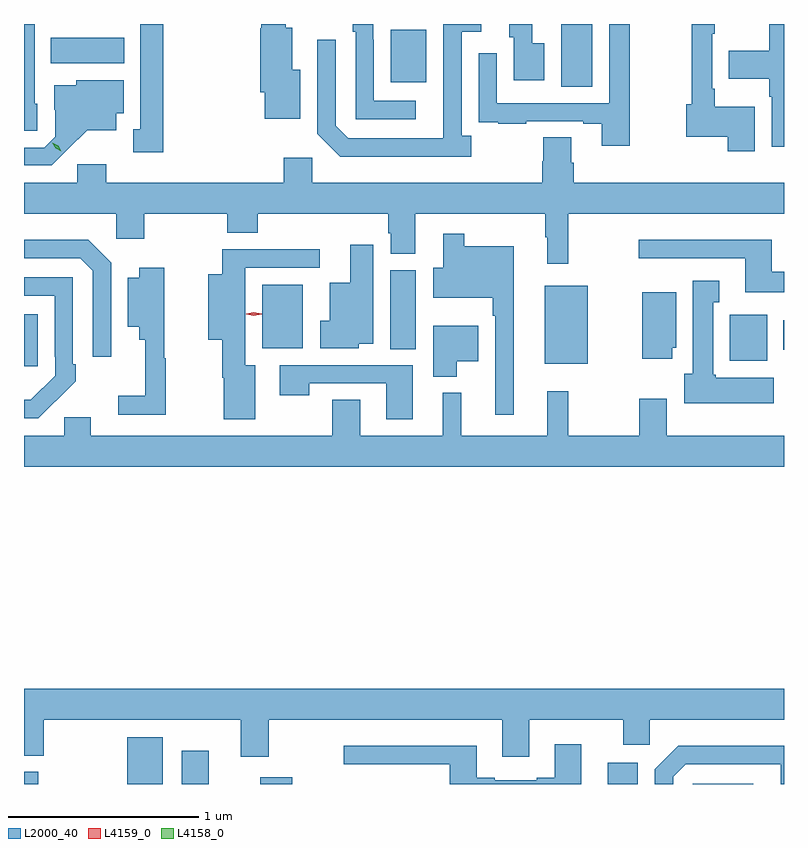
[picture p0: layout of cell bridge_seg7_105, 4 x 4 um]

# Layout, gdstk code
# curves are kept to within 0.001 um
import gdstk
lib = gdstk.Library(unit=1e-6, precision=1e-09)
def R(c, l, rs):  # rectangles x0, y0, x1, y1
    for r in rs: c.add(gdstk.rectangle(r[:2], r[2:], *l))
def P(c, l, *ps):  # polygons
    for p in ps: c.add(gdstk.Polygon(p, *l))
L2000_40 = (2000, 40)
L4158_0 = (4158, 0)
L4159_0 = (4159, 0)

bridge_seg7_105 = lib.new_cell('bridge_seg7_105')
R(bridge_seg7_105, L2000_40, [(1046.095,1017.595,1046.17,1017.66), (1046.639,1017.595,1046.824,1017.841), (1046.924,1017.595,1047.067,1017.769), (1047.338,1017.595,1047.508,1017.631), (1049.168,1017.595,1049.326,1017.706), (1049.616,1017.595,1049.932,1017.597), (1046.095,1019.793,1046.167,1020.067), (1048.835,1019.807,1049.062,1020.217), (1049.81,1019.822,1050.007,1020.064), (1050.092,1019.881,1050.095,1020.037), (1048.022,1019.884,1048.156,1020.3), (1047.35,1019.888,1047.562,1020.223), (1048.922,1021.264,1049.086,1021.595), (1048.025,1021.289,1048.213,1021.564), (1046.236,1021.388,1046.623,1021.522)])
P(bridge_seg7_105, L2000_40, [(1046.166,1021.176),(1046.151,1021.176),(1046.151,1021.595),(1046.095,1021.595),(1046.095,1021.033),(1046.166,1021.033)],
  [(1046.827,1021.595),(1046.708,1021.595),(1046.708,1021.041),(1046.669,1021.041),(1046.669,1020.921),(1046.827,1020.921)],
  [(1048.45,1021.006),(1048.398,1021.006),(1048.398,1021.554),(1048.501,1021.554),(1048.501,1021.595),(1048.302,1021.595),(1048.301,1020.993),(1047.801,1020.993),(1047.735,1021.059),(1047.735,1021.513),(1047.639,1021.513),(1047.639,1021.017),(1047.76,1020.896),(1048.45,1020.896)],
  [(1047.55,1021.354),(1047.508,1021.354),(1047.508,1021.576),(1047.472,1021.576),(1047.472,1021.595),(1047.343,1021.595),(1047.343,1021.572),(1047.338,1021.572),(1047.338,1021.236),(1047.362,1021.236),(1047.362,1021.097),(1047.55,1021.097)],
  [(1049.284,1021.595),(1049.175,1021.595),(1049.175,1021.179),(1048.584,1021.179),(1048.584,1021.441),(1048.488,1021.441),(1048.488,1021.186),(1048.489,1021.186),(1048.489,1021.077),(1048.591,1021.077),(1048.591,1021.071),(1048.739,1021.071),(1048.739,1021.083),(1049.039,1021.083),(1049.039,1021.071),(1049.135,1021.071),(1049.135,1020.954),(1049.284,1020.954)],
  [(1050.095,1021.595),(1050.018,1021.595),(1050.018,1021.455),(1049.803,1021.455),(1049.803,1021.307),(1050.018,1021.307),(1050.018,1021.211),(1050.03,1021.211),(1050.03,1020.948),(1050.095,1020.948)],
  [(1049.941,1021.159),(1049.731,1021.159),(1049.731,1021.255),(1049.718,1021.255),(1049.718,1021.543),(1049.731,1021.543),(1049.731,1021.595),(1049.61,1021.595),(1049.61,1021.172),(1049.581,1021.172),(1049.581,1021.001),(1049.798,1021.001),(1049.798,1020.924),(1049.941,1020.924)],
  [(1048.834,1021.495),(1048.771,1021.495),(1048.771,1021.595),(1048.649,1021.595),(1048.649,1021.524),(1048.673,1021.524),(1048.673,1021.299),(1048.834,1021.299)],
  [(1048.156,1021.191),(1047.936,1021.191),(1047.936,1021.511),(1047.933,1021.511),(1047.933,1021.595),(1047.825,1021.595),(1047.825,1021.553),(1047.84,1021.553),(1047.84,1021.095),(1048.156,1021.095)],
  [(1046.326,1020.935),(1046.429,1021.037),(1046.581,1021.037),(1046.581,1021.124),(1046.62,1021.124),(1046.62,1021.3),(1046.37,1021.3),(1046.37,1021.273),(1046.255,1021.273),(1046.255,1021.144),(1046.259,1021.144),(1046.259,1021.002),(1046.202,1020.945),(1046.095,1020.945),(1046.095,1020.852),(1046.242,1020.852)],
  [(1048.96,1020.596),(1050.095,1020.596),(1050.095,1020.76),(1048.988,1020.76),(1048.988,1020.866),(1048.975,1020.866),(1048.975,1020.998),(1048.828,1020.998),(1048.828,1020.873),(1048.823,1020.873),(1048.823,1020.76),(1047.612,1020.76),(1047.612,1020.892),(1047.461,1020.892),(1047.461,1020.76),(1046.528,1020.76),(1046.528,1020.856),(1046.376,1020.856),(1046.376,1020.76),(1046.095,1020.76),(1046.095,1020.596),(1046.58,1020.596),(1046.58,1020.465),(1046.727,1020.465),(1046.727,1020.596),(1047.166,1020.596),(1047.166,1020.497),(1047.326,1020.497),(1047.326,1020.596),(1048.013,1020.596),(1048.013,1020.495),(1048.025,1020.495),(1048.025,1020.385),(1048.153,1020.385),(1048.153,1020.596),(1048.839,1020.596),(1048.839,1020.473),(1048.85,1020.473),(1048.85,1020.333),(1048.96,1020.333)],
  [(1048.672,1020.424),(1048.411,1020.424),(1048.411,1020.49),(1048.301,1020.49),(1048.301,1020.313),(1048.248,1020.313),(1048.248,1020.155),(1048.563,1020.155),(1048.563,1020.059),(1048.575,1020.059),(1048.575,1019.538),(1048.672,1019.538)],
  [(1050.095,1020.292),(1050.031,1020.292),(1050.031,1020.46),(1049.331,1020.46),(1049.331,1020.363),(1049.891,1020.363),(1049.891,1020.182),(1050.095,1020.182)],
  [(1046.553,1020.339),(1046.432,1020.46),(1046.095,1020.46),(1046.095,1020.363),(1046.391,1020.363),(1046.457,1020.297),(1046.457,1019.844),(1046.553,1019.844)],
  [(1047.858,1019.912),(1047.934,1019.912),(1047.934,1020.433),(1047.812,1020.433),(1047.812,1020.232),(1047.704,1020.232),(1047.704,1020.034),(1047.653,1020.034),(1047.653,1019.888),(1047.858,1019.888)],
  [(1047.313,1019.8),(1047.259,1019.8),(1047.259,1020.312),(1047.652,1020.312),(1047.652,1020.41),(1047.139,1020.41),(1047.139,1020.277),(1047.065,1020.277),(1047.065,1019.933),(1047.139,1019.933),(1047.139,1019.732),(1047.146,1019.732),(1047.146,1019.514),(1047.313,1019.514)],
  [(1046.842,1019.837),(1046.832,1019.837),(1046.832,1020.313),(1046.702,1020.313),(1046.702,1020.259),(1046.642,1020.259),(1046.642,1020.002),(1046.702,1020.002),(1046.702,1019.933),(1046.732,1019.933),(1046.732,1019.639),(1046.592,1019.639),(1046.592,1019.538),(1046.842,1019.538)],
  [(1046.261,1019.611),(1046.262,1019.61),(1046.367,1019.715),(1046.367,1019.803),(1046.352,1019.803),(1046.352,1020.261),(1046.095,1020.261),(1046.095,1020.165),(1046.256,1020.165),(1046.256,1019.845),(1046.259,1019.845),(1046.259,1019.745),(1046.131,1019.617),(1046.095,1019.617),(1046.095,1019.52),(1046.17,1019.52)],
  [(1050.04,1019.734),(1049.736,1019.734),(1049.736,1019.748),(1049.722,1019.748),(1049.722,1020.131),(1049.755,1020.131),(1049.755,1020.244),(1049.615,1020.244),(1049.615,1019.754),(1049.57,1019.754),(1049.57,1019.6),(1050.04,1019.6)],
  [(1049.506,1019.892),(1049.527,1019.892),(1049.527,1020.184),(1049.348,1020.184),(1049.348,1019.832),(1049.506,1019.832)],
  [(1048.372,1019.819),(1048.486,1019.819),(1048.486,1020.007),(1048.25,1020.007),(1048.25,1019.738),(1048.372,1019.738)],
  [(1048.141,1019.799),(1047.441,1019.799),(1047.441,1019.64),(1047.597,1019.64),(1047.597,1019.703),(1048.001,1019.703),(1048.001,1019.514),(1048.141,1019.514)],
  [(1050.095,1019.428),(1049.479,1019.428),(1049.479,1019.623),(1049.332,1019.623),(1049.332,1019.428),(1048.96,1019.428),(1048.96,1019.662),(1048.85,1019.662),(1048.85,1019.428),(1048.397,1019.428),(1048.397,1019.653),(1048.298,1019.653),(1048.298,1019.428),(1047.865,1019.428),(1047.865,1019.618),(1047.718,1019.618),(1047.718,1019.428),(1046.446,1019.428),(1046.446,1019.526),(1046.307,1019.526),(1046.307,1019.428),(1046.095,1019.428),(1046.095,1019.264),(1050.095,1019.264)],
  [(1047.384,1017.932),(1048.613,1017.932),(1048.613,1017.738),(1048.753,1017.738),(1048.753,1017.932),(1049.249,1017.932),(1049.249,1017.801),(1049.388,1017.801),(1049.388,1017.932),(1050.095,1017.932),(1050.095,1018.096),(1046.095,1018.096),(1046.095,1017.745),(1046.199,1017.745),(1046.199,1017.932),(1047.236,1017.932),(1047.236,1017.738),(1047.384,1017.738)],
  [(1049.029,1017.805),(1048.889,1017.805),(1048.889,1017.628),(1048.793,1017.628),(1048.793,1017.615),(1048.573,1017.615),(1048.573,1017.628),(1048.477,1017.628),(1048.477,1017.796),(1047.777,1017.796),(1047.777,1017.699),(1048.337,1017.699),(1048.337,1017.595),(1049.029,1017.595)],
  [(1049.511,1017.633),(1049.577,1017.699),(1050.077,1017.699),(1050.077,1017.595),(1050.095,1017.595),(1050.095,1017.796),(1049.538,1017.796),(1049.415,1017.673),(1049.415,1017.595),(1049.511,1017.595)])
P(bridge_seg7_105, L4158_0, [(1046.292,1020.925),(1046.261,1020.941),(1046.243,1020.97),(1046.243,1020.971),(1046.244,1020.971),(1046.275,1020.955),(1046.292,1020.925),(1046.292,1020.925)])
P(bridge_seg7_105, L4159_0, [(1047.305,1020.059),(1047.265,1020.068),(1047.264,1020.069),(1047.265,1020.069),(1047.305,1020.079),(1047.345,1020.069),(1047.345,1020.069),(1047.345,1020.068)])

lib.write_gds('bridge_seg7_105.gds')
